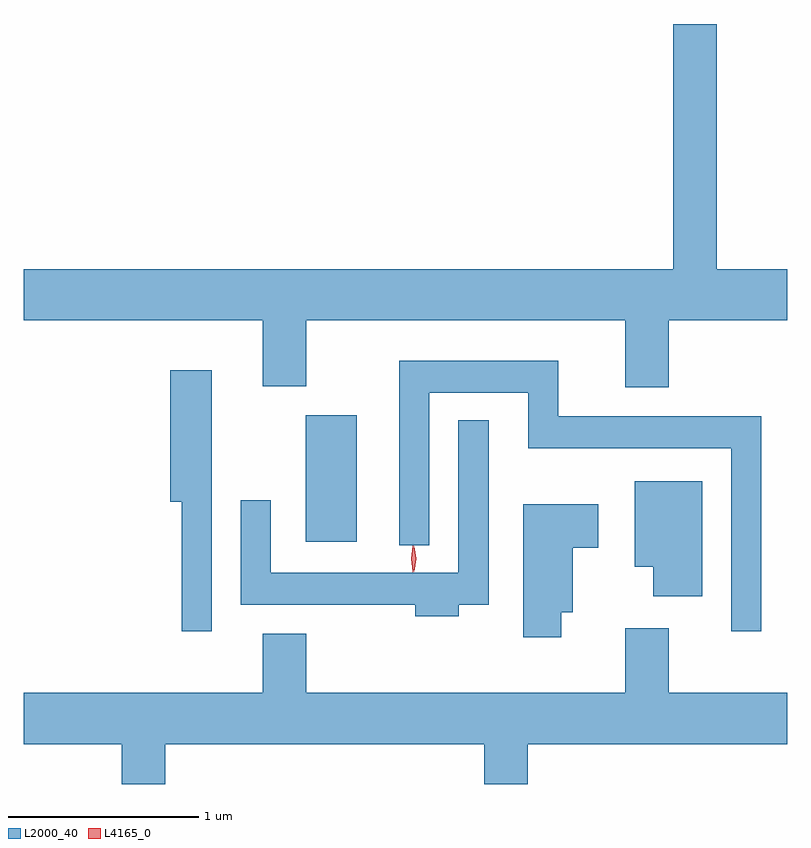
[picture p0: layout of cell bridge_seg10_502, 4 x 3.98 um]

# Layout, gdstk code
import gdstk
lib = gdstk.Library(unit=1e-6, precision=1e-09)
def R(c, l, rs):  # rectangles x0, y0, x1, y1
    for r in rs: c.add(gdstk.rectangle(r[:2], r[2:], *l))
def P(c, l, *ps):  # polygons
    for p in ps: c.add(gdstk.Polygon(p, *l))
L2000_40 = (2000, 40)
L4165_0 = (4165, 0)

bridge_seg10_502 = lib.new_cell('bridge_seg10_502')
R(bridge_seg10_502, L2000_40, [(769.896,2170.476,770.164,2171.139)])
P(bridge_seg10_502, L2000_40, [(771.799,2171.636),(772.419,2171.636),(772.419,2171.904),(772.049,2171.904),(772.049,2173.189),(771.821,2173.189),(771.821,2171.904),(768.419,2171.904),(768.419,2171.636),(769.671,2171.636),(769.671,2171.291),(769.899,2171.291),(769.899,2171.636),(771.571,2171.636),(771.571,2171.286),(771.799,2171.286)],
  [(772.284,2171.134),(771.219,2171.134),(771.219,2171.424),(770.386,2171.424),(770.386,2170.458),(770.544,2170.458),(770.544,2171.256),(771.061,2171.256),(771.061,2170.966),(772.126,2170.966),(772.126,2170.008),(772.284,2170.008)],
  [(769.404,2171.374),(769.186,2171.374),(769.186,2170.686),(769.246,2170.686),(769.246,2170.008),(769.404,2170.008)],
  [(770.699,2170.146),(770.854,2170.146),(770.854,2171.113),(770.696,2171.113),(770.696,2170.314),(769.714,2170.314),(769.714,2170.693),(769.556,2170.693),(769.556,2170.146),(770.471,2170.146),(770.471,2170.086),(770.699,2170.086)],
  [(771.974,2170.794),(771.621,2170.794),(771.621,2170.346),(771.716,2170.346),(771.716,2170.191),(771.974,2170.191)],
  [(771.234,2170.106),(771.294,2170.106),(771.294,2170.446),(771.429,2170.446),(771.429,2170.674),(771.036,2170.674),(771.036,2169.976),(771.234,2169.976)],
  [(772.419,2169.684),(771.799,2169.684),(771.799,2170.024),(771.571,2170.024),(771.571,2169.684),(769.899,2169.684),(769.899,2169.994),(769.671,2169.994),(769.671,2169.684),(768.419,2169.684),(768.419,2169.416),(768.931,2169.416),(768.931,2169.207),(769.159,2169.207),(769.159,2169.416),(770.831,2169.416),(770.831,2169.207),(771.059,2169.207),(771.059,2169.416),(772.419,2169.416)])
P(bridge_seg10_502, L4165_0, [(770.458,2170.317),(770.458,2170.318),(770.449,2170.387),(770.458,2170.456),(770.459,2170.456),(770.46,2170.456),(770.468,2170.387),(770.459,2170.318)],
  [(770.465,2170.319),(770.464,2170.32),(770.455,2170.386),(770.464,2170.452),(770.465,2170.453),(770.465,2170.452),(770.475,2170.386),(770.465,2170.32)])

lib.write_gds('bridge_seg10_502.gds')
